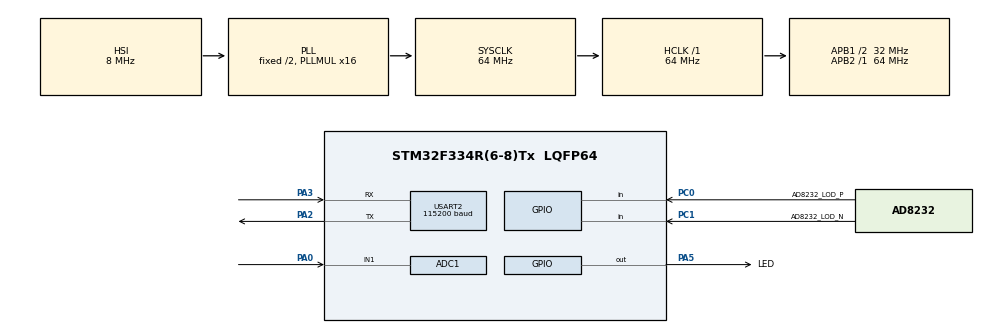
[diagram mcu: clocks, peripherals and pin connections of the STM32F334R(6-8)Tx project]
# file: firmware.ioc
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ADC1.Channel-2\#ChannelRegularConversion=ADC_CHANNEL_1
ADC1.ContinuousConvMode=ENABLE
ADC1.DMAContinuousRequests=ENABLE
ADC1.NbrOfConversionFlag=1
ADC1.Offset-2\#ChannelRegularConversion=0
ADC1.OffsetNumber-2\#ChannelRegularConversion=ADC_OFFSET_NONE
ADC1.Rank-2\#ChannelRegularConversion=1
ADC1.SamplingTime-2\#ChannelRegularConversion=ADC_SAMPLETIME_1CYCLE_5
ADC1.SamplingTimeOPAMP-2\#ChannelRegularConversion=ADC_SAMPLETIME_61CYCLES_5
ADC1.SubFamily=STM32F334x8
ADC1.master=1
Dma.ADC1.1.Direction=DMA_PERIPH_TO_MEMORY
Dma.ADC1.1.Instance=DMA1_Channel1
Dma.ADC1.1.MemDataAlignment=DMA_MDATAALIGN_HALFWORD
Dma.ADC1.1.MemInc=DMA_MINC_ENABLE
Dma.ADC1.1.Mode=DMA_CIRCULAR
Dma.ADC1.1.PeriphDataAlignment=DMA_PDATAALIGN_HALFWORD
Dma.ADC1.1.PeriphInc=DMA_PINC_DISABLE
Dma.ADC1.1.Priority=DMA_PRIORITY_LOW
Dma.Request0=USART2_TX
Dma.Request1=ADC1
Dma.USART2_TX.0.Direction=DMA_MEMORY_TO_PERIPH
Dma.USART2_TX.0.Instance=DMA1_Channel7
Dma.USART2_TX.0.MemDataAlignment=DMA_MDATAALIGN_BYTE
Dma.USART2_TX.0.MemInc=DMA_MINC_ENABLE
Dma.USART2_TX.0.Mode=DMA_NORMAL
Dma.USART2_TX.0.PeriphDataAlignment=DMA_PDATAALIGN_BYTE
Dma.USART2_TX.0.PeriphInc=DMA_PINC_DISABLE
Dma.USART2_TX.0.Priority=DMA_PRIORITY_LOW
Mcu.Family=STM32F3
Mcu.Name=STM32F334R(6-8)Tx
Mcu.Package=LQFP64
NVIC.DMA1_Channel1_IRQn=true\:0\:0\:false\:false\:true\:false\:true\:true
NVIC.DMA1_Channel7_IRQn=true\:0\:0\:false\:false\:true\:false\:true\:true
NVIC.PriorityGroup=NVIC_PRIORITYGROUP_0
NVIC.TIM6_DAC1_IRQn=true\:0\:0\:false\:false\:true\:true\:true\:true
PA0.Mode=IN1-Single-Ended
PA0.Signal=ADC1_IN1
PA13.GPIO_Label=TMS
PA13.Mode=Serial_Wire
PA13.Signal=SYS_JTMS-SWDIO
PA14.GPIO_Label=TCK
PA14.Mode=Serial_Wire
PA14.Signal=SYS_JTCK-SWCLK
PA2.Mode=Asynchronous
PA2.Signal=USART2_TX
PA3.Mode=Asynchronous
PA3.Signal=USART2_RX
PA5.GPIO_Label=LED
PA5.Signal=GPIO_Output
PB3.GPIO_Label=SWO
PB3.Signal=SYS_JTDO-TRACESWO
PC0.GPIO_Label=AD8232_LOD_P
PC0.Signal=GPIO_Input
PC1.GPIO_Label=AD8232_LOD_N
PC1.Signal=GPIO_Input
PC14\ /\ OSC32_IN.Signal=RCC_OSC32_IN
PC15\ /\ OSC32_OUT.GPIO_Label=RCC_OSC32_OUT
PC15\ /\ OSC32_OUT.Signal=RCC_OSC32_OUT
PF0\ /\ OSC_IN.Mode=HSE-External-Oscillator
PF0\ /\ OSC_IN.Signal=RCC_OSC_IN
PF1\ /\ OSC_OUT.Mode=HSE-External-Oscillator
PF1\ /\ OSC_OUT.Signal=RCC_OSC_OUT
ProjectManager.HeapSize=0x200
ProjectManager.StackSize=0x400
ProjectManager.TargetToolchain=STM32CubeIDE
RCC.AHBFreq_Value=64000000
RCC.APB1CLKDivider=RCC_HCLK_DIV2
RCC.APB1Freq_Value=32000000
RCC.APB1TimFreq_Value=64000000
RCC.APB2Freq_Value=64000000
RCC.APB2TimFreq_Value=64000000
RCC.CortexFreq_Value=64000000
RCC.FLatency-AdvancedSettings=FLASH_LATENCY_2
RCC.HCLKFreq_Value=64000000
RCC.HSE_VALUE=8000000
RCC.HSI_VALUE=8000000
RCC.LSE_VALUE=32768
RCC.PLLMUL=RCC_PLL_MUL16
RCC.SYSCLKFreq_VALUE=64000000
RCC.SYSCLKSourceVirtual=RCC_SYSCLKSOURCE_PLLCLK
TIM6.Period=422
TIM6.Prescaler=421
USART2.BaudRate=115200
USART2.VirtualMode-Asynchronous=VM_ASYNC
VP_TIM6_VS_ClockSourceINT.Mode=Enable_Timer
board=NUCLEO-F334R8

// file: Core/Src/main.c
/* USER CODE BEGIN Header */
/**
  ******************************************************************************
  * @file           : main.c
  * @brief          : Main program body. All of the user-generated code for
  	  	  	  	  	  this STM32CubeIDE project is contained in this file,
  	  	  	  	  	  which closely follows the program contained in the
  	  	  	  	  	  algorithm/algorithm.c file of this repository. Comments
  	  	  	  	  	  are provided primarily for implementation details
  	  	  	  	  	  unique to the STM32 version; more details can be found in
  	  	  	  	  	  the aforementioned C version.
  ******************************************************************************
  * @attention
  *
  * Copyright (c) 2023 STMicroelectronics.
  * All rights reserved.
  *
  * This software is licensed under terms that can be found in the LICENSE file
  * in the root directory of this software component.
  * If no LICENSE file comes with this software, it is provided AS-IS.
  *
  ******************************************************************************
  */
/* USER CODE END Header */
#include "main.h"

/* USER CODE BEGIN Includes */
/*
 * Used to print data to the serial buffer before it's transmitted through
 * USART.
 */
#include <string.h>
/* USER CODE END Includes */

/* USER CODE BEGIN PD */
/*
 * Included before the designated macro section since some pre-defined
 * constants make use of it.
 */
#define WINDOW(R) (2 * (R) + 1)

/*
 * The remaining predefined constants are identical to those found in
 * algorithm/algorithm.c.
 */
#define FS 360

#define N 25
#define S 7
#define L 5
#define M 150
#define BETA 2.5

#define NOTCHED_SIZE (WINDOW(N) + 1)
#define H_SIZE (FS * 2)
#define T_SIZE (WINDOW(L) + 1)
#define L1_SIZE (WINDOW(M) + 1)

#define MIN_RR_DIST (0.272 * FS)
/* USER CODE END PD */

/* USER CODE BEGIN PM */
#define ABS(x) ((x) < 0 ? -(x) : (x))
/* USER CODE END PM */

ADC_HandleTypeDef hadc1;
DMA_HandleTypeDef hdma_adc1;

TIM_HandleTypeDef htim6;

UART_HandleTypeDef huart2;
DMA_HandleTypeDef hdma_usart2_tx;

/* USER CODE BEGIN PV */
static float B[] = {0.9576, -0.9864, 0.9576};
static float A[] = {0, -0.9864, 0.9153};

/*
 * Indicates whether the sample period has elapsed. Once triggered by an
 * interrupt, the superloop reads a sample and processes it.
 */
uint8_t fs_elapsed_flag = 0;

/*
 * Indicates whether a new R-peak has been detected. This triggers a bpm
 * reading transmitted through the serial port and flickers the LED.
 */
uint8_t r_peak_detected_flag = 0;
/* USER CODE END PV */

void SystemClock_Config(void);
static void MX_GPIO_Init(void);
static void MX_DMA_Init(void);
static void MX_USART2_UART_Init(void);
static void MX_ADC1_Init(void);
static void MX_TIM6_Init(void);
/* USER CODE BEGIN PFP */
/*
 * These two functions are identical in implementation to their algorithm.c
 * counterparts.
 */
uint16_t max_index(uint16_t arr[], uint16_t start_idx, uint16_t end_idx);
uint8_t rounded(float num);

/*
 * Callback function for the USART DMA.
 * Polling is too slow for our chosen sample rate.
 */
void DMATransferComplete(DMA_HandleTypeDef *hdma);
/* USER CODE END PFP */

/* USER CODE BEGIN 0 */
/*
 * This project makes use of Charles Nicholson's nanoprintf library, the
 * smallest public printf implementation for its feature set. This version uses
 * a lot less memory and is considerably faster than the stdio version of
 * snprintf(), which is used to write to the USART buffer in this program.
 */
#define NANOPRINTF_IMPLEMENTATION
#include "nanoprintf.h"
/* USER CODE END 0 */

int main(void)
{
  /* USER CODE BEGIN 1 */
	/* USART buffer. */
	char msg[20];

	uint16_t x[3];
	float y[3];
	uint16_t notched[NOTCHED_SIZE];
	uint16_t h[H_SIZE];
	float t[T_SIZE];
	float l1[L1_SIZE];

	memset(x, 0, sizeof(x));
	memset(y, 0, sizeof(y));

	uint16_t input;
	float y_val;
	uint16_t notched_val;
	float notched_bar_val = 0;
	short h_hat_val;
	uint16_t h_val;

	/*
	 * The triangle filter matching template computation runs into an overflow
	 * issue on this platform, so it's broken into two parts using these
	 * variables before they're multiplied together.
	 */
	float t_val1, t_val2;

	float t_val;
	float l1_val = 0;
	float l2_val = 0;
	float th_val;
	float theta;

	uint16_t i;
	uint16_t j;
	uint16_t i_notched = 0;
	uint16_t i_h = 0;
	uint16_t i_t = 0;
	uint16_t i_l1 = 0;

	uint8_t prev_aoi;
	uint8_t aoi = 0;

	uint16_t i_onset;
	uint16_t i_offset;
	uint16_t i_cand_max;
	uint16_t i_curr_max = 0;
	uint16_t i_prev_max;

	uint16_t rr;
	float bpm = 0;

	/*
	 * Keeps track of flicker duration for the LED that triggers when
	 * an R-peak has been detected.
	 */
	uint8_t led_counter = 0;
  /* USER CODE END 1 */

  /* MCU Configuration--------------------------------------------------------*/

  /* Reset of all peripherals, Initializes the Flash interface and the Systick. */
  HAL_Init();

  /* Configure the system clock */
  SystemClock_Config();

  /* Initialize all configured peripherals */
  MX_GPIO_Init();
  MX_DMA_Init();
  MX_USART2_UART_Init();
  MX_ADC1_Init();
  MX_TIM6_Init();
  /* USER CODE BEGIN 2 */
  /* Required for USART DMA. */
  HAL_DMA_RegisterCallback(&hdma_usart2_tx, HAL_DMA_XFER_CPLT_CB_ID, &DMATransferComplete);

  /* Timer used for the super loop. Triggers every sample period. */
  HAL_TIM_Base_Start_IT(&htim6);
  /* USER CODE END 2 */

  /* Infinite loop */
  /* USER CODE BEGIN WHILE */
  while (1)
  {
	  if (fs_elapsed_flag) {
		  /*
		   * Once the sample period corresponding to FS has triggered, immediately
		   * disable the flag.
		   */
		  fs_elapsed_flag = 0;

		  if (led_counter > 0) {
			  /*
			   * If led_counter has been incremented, then the R-peak detection flag
			   * was recently raised. Keep incrementing the counter until the threshold
			   * is reached, at which point the LED is turned off and the counter reset.
			   */
			  if (led_counter == (FS / 20) + 1) {
				  led_counter = 0;
				  HAL_GPIO_WritePin(LED_GPIO_Port, LED_Pin, GPIO_PIN_RESET);
			  } else {
				  led_counter++;
			  }
		  }

		  if (HAL_GPIO_ReadPin(AD8232_LOD_P_GPIO_Port, AD8232_LOD_P_Pin) == GPIO_PIN_SET) {
			  /*
			   * The AD8232's LOD pin indicates whether at least one of the leads are
			   * disconnected. In this case, the necessary memory buffers, moving
			   * average accumulators, buffer indices, flags, and outgoing signals
			   * are cleared until valid data is known to be available at the ADC.
			   */
			  memset(x, 0, sizeof(x));
			  memset(y, 0, sizeof(y));
			  notched_bar_val = 0;
			  l1_val = 0;
			  l2_val = 0;
			  i_notched = 0;
			  i_h = 0;
			  i_t = 0;
			  i_l1 = 0;
			  aoi = 0;
			  i_curr_max = 0;
			  bpm = 0;
		  } else {
			  /*
			   * Once the leads are connected, a sample is read by the ADC.
			   * Polling is plenty fast to meet the timing requirements set by
			   * this algorithm's sampling frequency and the additional overhead
			   * required for interfacing with DMA is avoided.
			   */
			  HAL_ADC_Start(&hadc1);
			  HAL_ADC_PollForConversion(&hadc1, HAL_MAX_DELAY);
			  input = HAL_ADC_GetValue(&hadc1);

			  for (i = 0; i < 2; i++) {
				  x[i] = x[i + 1];
				  y[i] = y[i + 1];
			  }
			  x[2] = input;

			  y_val = 0;
			  for (i = 0; i < 3; i++) {
				  y_val += B[i] * x[2 - i];
				  y_val -= A[i] * y[2 - i];
			  }
			  y[2] = y_val;

			  notched_val = (uint16_t) y_val;
			  if (i_notched == NOTCHED_SIZE) {
				  for (i = 0; i < NOTCHED_SIZE - 1; i++) {
					  notched[i] = notched[i + 1];
				  }
				  i_notched--;
			  }
			  notched[i_notched++] = notched_val;

			  notched_bar_val += (float) notched_val / WINDOW(N);
			  if (i_notched > WINDOW(N)) {
				  notched_bar_val -= (float) notched[0] / WINDOW(N);

				  h_hat_val = notched_val - notched_bar_val;

				  h_val = ABS(h_hat_val);

				  if (i_h == H_SIZE) {
					  for (i = 0; i < H_SIZE - 1; i++) {
						  h[i] = h[i + 1];
					  }
					  i_h--;
					  i_onset--;
					  i_curr_max--;
					  i_prev_max--;
				  }
				  h[i_h++] = h_val;

				  if (i_h >= WINDOW(S)) {
					  j = i_h - 1;

					  /*
					   * As mentioned earlier, the triangle filter matching template
					   * computation requires two variables to be computed on this platform.
					   * the two factors of the expression are stored individually before
					   * being multiplied.
					   */
					  t_val1 = h[j - S] - h[j - (2 * S)];
					  t_val2 = h[j - S] - h[j];
					  t_val = t_val1 * t_val2;

					  if (i_t == T_SIZE) {
						  for (i = 0; i < T_SIZE - 1; i++) {
							  t[i] = t[i + 1];
						  }
						  i_t--;
					  }
					  t[i_t++] = t_val;

					  l1_val += t_val / WINDOW(L);
					  if (i_t > WINDOW(L)) {
						  l1_val -= t[0] / WINDOW(L);

						  if (i_l1 == L1_SIZE) {
							  for (i = 0; i < L1_SIZE - 1; i++) {
								  l1[i] = l1[i + 1];
							  }
							  i_l1--;
						  }
						  l1[i_l1++] = l1_val;

						  l2_val += l1_val / WINDOW(M);
						  if (i_l1 > WINDOW(M)) {
							  l2_val -= l1[0] / WINDOW(M);
						  }

						  if (i_l1 > M + 1) {
							  theta = 0.25 * l2_val;
							  th_val = BETA*l2_val + theta;

							  prev_aoi = aoi;
							  aoi = l1_val >= th_val ? 1 : 0;

							  if (aoi - prev_aoi == 1) {
								  i_onset = i_h;
							  } else if (aoi - prev_aoi == -1) {
								  i_offset = i_h;
								  i_cand_max = max_index(h, i_onset, i_offset);

								  if (i_curr_max == 0) {
									  i_curr_max = i_cand_max;
								  } else {
									  if (i_cand_max - i_curr_max < MIN_RR_DIST) {
										  if (h[i_cand_max] > h[i_curr_max]) {
											  i_curr_max = i_cand_max;
										  }
									  } else {
										  /*
										   * Raise a flag to transmit the new bpm
										   * reading and trigger the LED.
										   */
										  r_peak_detected_flag = 1;

										  i_prev_max = i_curr_max;
										  i_curr_max = i_cand_max;
										  rr = i_curr_max - i_prev_max;
										  bpm = 60.0 * FS / (float) rr;
									  }
								  }
							  }
						  }
					  }
				  }
				  if (r_peak_detected_flag) {
					  /* Immediately disable the flag. */
					  r_peak_detected_flag = 0;

					  /*
					   * Trigger the LED and increment the counter. A non-zero
					   * counter value means the LED is on.
					   */
					  HAL_GPIO_WritePin(LED_GPIO_Port, LED_Pin, GPIO_PIN_SET);
					  led_counter++;

					  /*
					   * Transmit the new bpm reading in addition to the filtered
					   * ECG signal.
					   */
					  npf_snprintf(msg, 20, "%hi,%hu\r\n", h_hat_val, rounded(bpm));
					  huart2.Instance->CR3 |= USART_CR3_DMAT;
					  HAL_DMA_Start_IT(&hdma_usart2_tx, (uint32_t)msg, (uint32_t)&huart2.Instance->TDR, strlen(msg));
				  } else {
					  /*
					   * There is no new R-peak detected so the bpm reading is unchanged.
					   * Transmit only the ECG signal.
					   */
					  npf_snprintf(msg, 20, "%hi\r\n", h_hat_val);
					  huart2.Instance->CR3 |= USART_CR3_DMAT;
					  HAL_DMA_Start_IT(&hdma_usart2_tx, (uint32_t)msg, (uint32_t)&huart2.Instance->TDR, strlen(msg));
				  }
			  }
		  }
	  }
    /* USER CODE END WHILE */

  }
}

void SystemClock_Config(void)
{
  RCC_OscInitTypeDef RCC_OscInitStruct = {0};
  RCC_ClkInitTypeDef RCC_ClkInitStruct = {0};
  RCC_PeriphCLKInitTypeDef PeriphClkInit = {0};

  /** Initializes the RCC Oscillators according to the specified parameters
  * in the RCC_OscInitTypeDef structure.
  */
  RCC_OscInitStruct.OscillatorType = RCC_OSCILLATORTYPE_HSI;
  RCC_OscInitStruct.HSIState = RCC_HSI_ON;
  RCC_OscInitStruct.HSICalibrationValue = RCC_HSICALIBRATION_DEFAULT;
  RCC_OscInitStruct.PLL.PLLState = RCC_PLL_ON;
  RCC_OscInitStruct.PLL.PLLSource = RCC_PLLSOURCE_HSI;
  RCC_OscInitStruct.PLL.PLLMUL = RCC_PLL_MUL16;
  if (HAL_RCC_OscConfig(&RCC_OscInitStruct) != HAL_OK)
  {
    Error_Handler();
  }

  /** Initializes the CPU, AHB and APB buses clocks
  */
  RCC_ClkInitStruct.ClockType = RCC_CLOCKTYPE_HCLK|RCC_CLOCKTYPE_SYSCLK
                              |RCC_CLOCKTYPE_PCLK1|RCC_CLOCKTYPE_PCLK2;
  RCC_ClkInitStruct.SYSCLKSource = RCC_SYSCLKSOURCE_PLLCLK;
  RCC_ClkInitStruct.AHBCLKDivider = RCC_SYSCLK_DIV1;
  RCC_ClkInitStruct.APB1CLKDivider = RCC_HCLK_DIV2;
  RCC_ClkInitStruct.APB2CLKDivider = RCC_HCLK_DIV1;

  if (HAL_RCC_ClockConfig(&RCC_ClkInitStruct, FLASH_LATENCY_2) != HAL_OK)
  {
    Error_Handler();
  }
  PeriphClkInit.PeriphClockSelection = RCC_PERIPHCLK_ADC12;
  PeriphClkInit.Adc12ClockSelection = RCC_ADC12PLLCLK_DIV1;
  if (HAL_RCCEx_PeriphCLKConfig(&PeriphClkInit) != HAL_OK)
  {
    Error_Handler();
  }
}

static void MX_ADC1_Init(void)
{

  ADC_MultiModeTypeDef multimode = {0};
  ADC_ChannelConfTypeDef sConfig = {0};

  /** Common config
  */
  hadc1.Instance = ADC1;
  hadc1.Init.ClockPrescaler = ADC_CLOCK_ASYNC_DIV1;
  hadc1.Init.Resolution = ADC_RESOLUTION_12B;
  hadc1.Init.ScanConvMode = ADC_SCAN_DISABLE;
  hadc1.Init.ContinuousConvMode = ENABLE;
  hadc1.Init.DiscontinuousConvMode = DISABLE;
  hadc1.Init.ExternalTrigConvEdge = ADC_EXTERNALTRIGCONVEDGE_NONE;
  hadc1.Init.ExternalTrigConv = ADC_SOFTWARE_START;
  hadc1.Init.DataAlign = ADC_DATAALIGN_RIGHT;
  hadc1.Init.NbrOfConversion = 1;
  hadc1.Init.DMAContinuousRequests = ENABLE;
  hadc1.Init.EOCSelection = ADC_EOC_SINGLE_CONV;
  hadc1.Init.LowPowerAutoWait = DISABLE;
  hadc1.Init.Overrun = ADC_OVR_DATA_OVERWRITTEN;
  if (HAL_ADC_Init(&hadc1) != HAL_OK)
  {
    Error_Handler();
  }

  /** Configure the ADC multi-mode
  */
  multimode.Mode = ADC_MODE_INDEPENDENT;
  if (HAL_ADCEx_MultiModeConfigChannel(&hadc1, &multimode) != HAL_OK)
  {
    Error_Handler();
  }

  /** Configure Regular Channel
  */
  sConfig.Channel = ADC_CHANNEL_1;
  sConfig.Rank = ADC_REGULAR_RANK_1;
  sConfig.SingleDiff = ADC_SINGLE_ENDED;
  sConfig.SamplingTime = ADC_SAMPLETIME_1CYCLE_5;
  sConfig.OffsetNumber = ADC_OFFSET_NONE;
  sConfig.Offset = 0;
  if (HAL_ADC_ConfigChannel(&hadc1, &sConfig) != HAL_OK)
  {
    Error_Handler();
  }

}

static void MX_TIM6_Init(void)
{

  TIM_MasterConfigTypeDef sMasterConfig = {0};

  htim6.Instance = TIM6;
  htim6.Init.Prescaler = 421;
  htim6.Init.CounterMode = TIM_COUNTERMODE_UP;
  htim6.Init.Period = 422;
  htim6.Init.AutoReloadPreload = TIM_AUTORELOAD_PRELOAD_DISABLE;
  if (HAL_TIM_Base_Init(&htim6) != HAL_OK)
  {
    Error_Handler();
  }
  sMasterConfig.MasterOutputTrigger = TIM_TRGO_RESET;
  sMasterConfig.MasterSlaveMode = TIM_MASTERSLAVEMODE_DISABLE;
  if (HAL_TIMEx_MasterConfigSynchronization(&htim6, &sMasterConfig) != HAL_OK)
  {
    Error_Handler();
  }

}

static void MX_USART2_UART_Init(void)
{

  huart2.Instance = USART2;
  huart2.Init.BaudRate = 115200;
  huart2.Init.WordLength = UART_WORDLENGTH_8B;
  huart2.Init.StopBits = UART_STOPBITS_1;
  huart2.Init.Parity = UART_PARITY_NONE;
  huart2.Init.Mode = UART_MODE_TX_RX;
  huart2.Init.HwFlowCtl = UART_HWCONTROL_NONE;
  huart2.Init.OverSampling = UART_OVERSAMPLING_16;
  huart2.Init.OneBitSampling = UART_ONE_BIT_SAMPLE_DISABLE;
  huart2.AdvancedInit.AdvFeatureInit = UART_ADVFEATURE_NO_INIT;
  if (HAL_UART_Init(&huart2) != HAL_OK)
  {
    Error_Handler();
  }

}

static void MX_DMA_Init(void)
{

  /* DMA controller clock enable */
  __HAL_RCC_DMA1_CLK_ENABLE();

  /* DMA interrupt init */
  /* DMA1_Channel1_IRQn interrupt configuration */
  HAL_NVIC_SetPriority(DMA1_Channel1_IRQn, 0, 0);
  HAL_NVIC_EnableIRQ(DMA1_Channel1_IRQn);
  /* DMA1_Channel7_IRQn interrupt configuration */
  HAL_NVIC_SetPriority(DMA1_Channel7_IRQn, 0, 0);
  HAL_NVIC_EnableIRQ(DMA1_Channel7_IRQn);

}

static void MX_GPIO_Init(void)
{
  GPIO_InitTypeDef GPIO_InitStruct = {0};

  /* GPIO Ports Clock Enable */
  __HAL_RCC_GPIOC_CLK_ENABLE();
  __HAL_RCC_GPIOF_CLK_ENABLE();
  __HAL_RCC_GPIOA_CLK_ENABLE();
  __HAL_RCC_GPIOB_CLK_ENABLE();

  /*Configure GPIO pin Output Level */
  HAL_GPIO_WritePin(LED_GPIO_Port, LED_Pin, GPIO_PIN_RESET);

  /*Configure GPIO pins : AD8232_LOD_P_Pin AD8232_LOD_N_Pin */
  GPIO_InitStruct.Pin = AD8232_LOD_P_Pin|AD8232_LOD_N_Pin;
  GPIO_InitStruct.Mode = GPIO_MODE_INPUT;
  GPIO_InitStruct.Pull = GPIO_NOPULL;
  HAL_GPIO_Init(GPIOC, &GPIO_InitStruct);

  /*Configure GPIO pin : LED_Pin */
  GPIO_InitStruct.Pin = LED_Pin;
  GPIO_InitStruct.Mode = GPIO_MODE_OUTPUT_PP;
  GPIO_InitStruct.Pull = GPIO_NOPULL;
  GPIO_InitStruct.Speed = GPIO_SPEED_FREQ_LOW;
  HAL_GPIO_Init(LED_GPIO_Port, &GPIO_InitStruct);

}

/* USER CODE BEGIN 4 */
uint16_t max_index(uint16_t arr[], uint16_t start_idx, uint16_t end_idx) {

    uint16_t max_value = arr[start_idx];
    uint16_t max_index = start_idx;

    for (uint16_t i = start_idx + 1; i <= end_idx; i++) {
        if (arr[i] > max_value) {
            max_value = arr[i];
            max_index = i;
        }
    }

    return max_index;
}
uint8_t rounded(float num) {
	if (num < 0.0f) {
		return 0;
	} else if (num > 255.0f) {
		return 255;
	} else {
		uint8_t int_part = (uint8_t) num;
		float frac_part = num - int_part;

		if (frac_part >= 0.5f) {
			int_part++;
		}
		return int_part;
	}
}

void DMATransferComplete(DMA_HandleTypeDef *hdma) {
  // Disable UART DMA mode
  huart2.Instance->CR3 &= ~USART_CR3_DMAT;
}

/* Triggers the main() superloop using a flag. */
void HAL_TIM_PeriodElapsedCallback(TIM_HandleTypeDef *htim) {
	if (htim->Instance == TIM6) {
		fs_elapsed_flag = 1;
	}
}
/* USER CODE END 4 */

void Error_Handler(void)
{
  __disable_irq();
  while (1)
  {
  }
}
